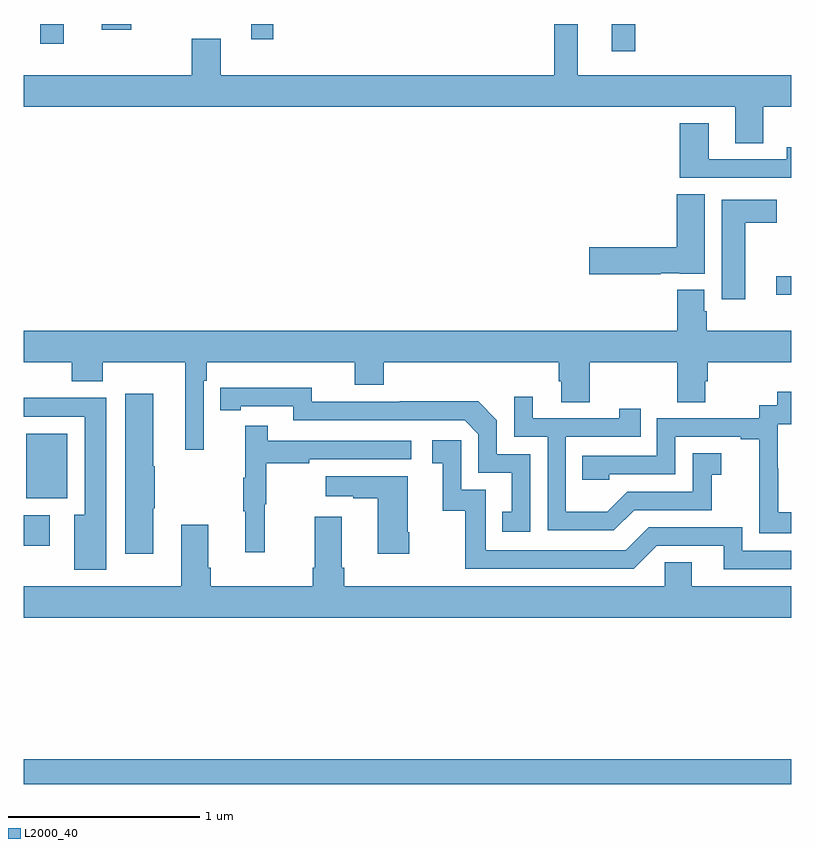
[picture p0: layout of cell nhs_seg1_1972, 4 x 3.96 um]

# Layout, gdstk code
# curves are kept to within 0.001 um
import gdstk
lib = gdstk.Library(unit=1e-6, precision=1e-09)
def R(c, l, rs):  # rectangles x0, y0, x1, y1
    for r in rs: c.add(gdstk.rectangle(r[:2], r[2:], *l))
def P(c, l, *ps):  # polygons
    for p in ps: c.add(gdstk.Polygon(p, *l))
L2000_40 = (2000, 40)

nhs_seg1_1972 = lib.new_cell('nhs_seg1_1972')
R(nhs_seg1_1972, L2000_40, [(219,512.238,223,512.366), (219,513.48,219.136,513.639), (219.014,513.728,219.226,514.063), (222.921,514.787,223,514.884), (222.065,516.057,222.187,516.199), (219.086,516.096,219.208,516.199), (220.185,516.12,220.301,516.199), (219.407,516.17,219.56,516.199)])
P(nhs_seg1_1972, L2000_40, [(222.707,515.578),(222.855,515.578),(222.855,515.768),(223,515.768),(223,515.932),(221.887,515.932),(221.887,516.199),(221.766,516.199),(221.766,515.932),(220.027,515.932),(220.027,516.121),(219.875,516.121),(219.875,515.932),(219,515.932),(219,515.768),(222.707,515.768)],
  [(223,515.557),(222.976,515.557),(222.976,515.493),(222.571,515.493),(222.571,515.683),(222.419,515.683),(222.419,515.397),(223,515.397)],
  [(222.32,514.901),(222.42,514.901),(222.42,514.898),(222.55,514.898),(222.55,515.312),(222.404,515.312),(222.404,515.036),(221.946,515.036),(221.946,514.894),(222.32,514.894)],
  [(222.76,515.162),(222.925,515.162),(222.925,515.284),(222.638,515.284),(222.638,514.764),(222.76,514.764)],
  [(219.939,514.34),(219.953,514.34),(219.953,514.436),(220.724,514.436),(220.724,514.319),(220.877,514.319),(220.877,514.436),(221.789,514.436),(221.789,514.338),(221.801,514.338),(221.801,514.228),(221.949,514.228),(221.949,514.436),(222.406,514.436),(222.406,514.228),(222.553,514.228),(222.553,514.338),(222.566,514.338),(222.566,514.436),(223,514.436),(223,514.6),(222.56,514.6),(222.56,514.701),(222.547,514.701),(222.547,514.813),(222.407,514.813),(222.407,514.6),(219,514.6),(219,514.436),(219.251,514.436),(219.251,514.337),(219.411,514.337),(219.411,514.436),(219.842,514.436),(219.842,513.981),(219.939,513.981)],
  [(221.64,513.957),(221.466,513.957),(221.466,514.134),(221.368,514.232),(220.96,514.232),(220.96,514.23),(220.5,514.23),(220.5,514.303),(220.024,514.302),(220.024,514.186),(220.132,514.186),(220.132,514.206),(220.404,514.206),(220.404,514.134),(221.298,514.134),(221.37,514.062),(221.37,513.861),(221.543,513.861),(221.543,513.657),(221.494,513.657),(221.494,513.552),(221.64,513.552)],
  [(223,513.655),(222.932,513.655),(222.932,513.884),(222.93,513.884),(222.93,514.113),(223,514.113),(223,514.282),(222.927,514.282),(222.927,514.212),(222.834,514.212),(222.834,514.143),(222.3,514.143),(222.3,513.948),(221.911,513.948),(221.911,513.825),(222.051,513.825),(222.051,513.852),(222.396,513.852),(222.396,514.047),(222.737,514.047),(222.737,514.035),(222.833,514.035),(222.833,513.751),(222.832,513.751),(222.832,513.545),(223,513.545)],
  [(219.676,513.676),(219.684,513.676),(219.684,513.893),(219.676,513.893),(219.676,514.273),(219.53,514.273),(219.53,513.438),(219.676,513.438)],
  [(222.181,513.666),(222.585,513.666),(222.585,513.851),(222.634,513.851),(222.634,513.961),(222.486,513.961),(222.486,513.762),(222.144,513.762),(222.04,513.658),(221.826,513.658),(221.826,514.047),(222.215,514.047),(222.215,514.195),(222.104,514.195),(222.104,514.143),(221.653,514.143),(221.653,514.255),(221.556,514.255),(221.556,514.047),(221.73,514.047),(221.73,513.561),(222.076,513.561)],
  [(219.43,514.25),(219,514.25),(219,514.152),(219.317,514.152),(219.317,513.64),(219.263,513.64),(219.263,513.354),(219.43,513.354)],
  [(220.256,513.696),(220.264,513.696),(220.264,513.91),(220.487,513.91),(220.487,513.93),(221.02,513.93),(221.02,514.026),(220.271,514.026),(220.271,514.105),(220.154,514.105),(220.154,513.833),(220.143,513.833),(220.143,513.659),(220.154,513.659),(220.154,513.447),(220.256,513.447)],
  [(223,513.453),(222.744,513.453),(222.744,513.576),(222.258,513.576),(222.138,513.456),(221.409,513.456),(221.409,513.771),(221.28,513.771),(221.28,514.03),(221.13,514.03),(221.13,513.909),(221.183,513.909),(221.183,513.663),(221.301,513.663),(221.301,513.36),(222.18,513.36),(222.3,513.48),(222.647,513.48),(222.647,513.357),(223,513.357)],
  [(221.01,513.55),(221.002,513.55),(221.002,513.841),(220.575,513.841),(220.575,513.737),(220.718,513.737),(220.718,513.727),(220.844,513.727),(220.844,513.438),(221.01,513.438)],
  [(223,513.268),(222.481,513.268),(222.481,513.395),(222.342,513.395),(222.342,513.268),(220.67,513.268),(220.67,513.364),(220.657,513.364),(220.657,513.631),(220.517,513.631),(220.517,513.364),(220.505,513.364),(220.505,513.268),(219.974,513.268),(219.974,513.364),(219.961,513.364),(219.961,513.589),(219.821,513.589),(219.821,513.268),(219,513.268),(219,513.104),(223,513.104)])

lib.write_gds('nhs_seg1_1972.gds')
